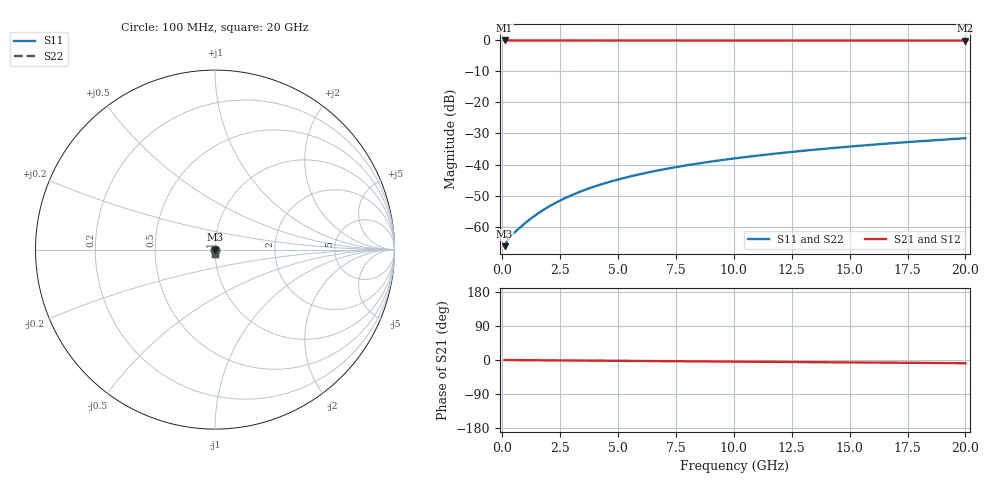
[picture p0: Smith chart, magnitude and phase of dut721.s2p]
! Touchstone file exported from HFSS 2026.1.0
!  File:  C:/ffzhzh/LocalFiles/Ansys_Project_Files/temp_train_BSMRDL_721_1783168386_22436.aedt
!  Generated:  08:34:15 PM Jul  4, 2026
!  Design:  BSMRDL
!  Project:  temp_train_BSMRDL_721_1783168386_22436
! Variables:
!  h_bsmrdl = 5.78um
!  h_ox = 20um
!  h_rdl = 5um
!  h_sub = 80um
!  h_tmrdl = 5um
!  h_tsv = 80um
!  h_via = 3um
!  l_bsmrdl = 137.52um
!  l_sub = 537.52um
!  l_tmrdl = 200um
!  m_sub = 200um
!  pitch = 33.33um
!  r_tsv = 6um
!  s_tmrdl = 10um
!  w_bsmrdl = 29.51um
!  w_sub = 500um
!  w_tmrdl = 12um
!  x_tsv_center1 = 206um
!  x_tsv_center2 = 373.03um
!  x_tsv_center3 = 585.03um
!  x_tsv_center4 = 752.06um
!  x_tsv_center5 = 964.06um
!  x_tsv_center6 = 1131.09um
# GHz S MA R 50.000000
! Terminal data exported
! Port[1] = BSM_RDL1_1_T1
! Port[2] = BSM_RDL1_1_T2
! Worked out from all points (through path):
!   200 points, 100 MHz to 20 GHz, reference 50 ohm
!   highest |S21| = 0.00 dB at 100 MHz (marker M1); lowest = 0.0 dB at 20 GHz (marker M2)
!   group delay of S21, straight-line fit = 1.16 ps
!   lowest |S11| = -66.3 dB at 100 MHz (marker M3), VSWR 1.00, Z = 50 + j0.00441 ohm
!   |S11| at or under -10 dB: start of sweep to end of sweep
!   |S22| runs from -66.3 to -31.5 dB; largest |S21 - S12| = 1.1e-14
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0.1  0.0004825 5.2  0.9995 -0.1  0.9995 -0.1  0.0004825 5.2
! Gamma 0 0 0 0
! Port Impedance 50 0 50 0
0.2  0.0005786 0.0  0.9994 -0.1  0.9994 -0.1  0.0005786 0.0
0.3  0.000656 -8.0  0.9993 -0.1  0.9993 -0.1  0.000656 -8.0
0.4  0.0007219 -15.6  0.9993 -0.2  0.9993 -0.2  0.0007219 -15.6
0.6  0.0008506 -27.8  0.9992 -0.3  0.9992 -0.3  0.0008505 -27.8
0.9  0.001067 -40.2  0.9992 -0.4  0.9992 -0.4  0.001067 -40.2
1.4  0.001493 -51.7  0.9991 -0.6  0.9991 -0.6  0.001493 -51.7
1.9  0.001982 -57.9  0.9989 -0.8  0.9989 -0.8  0.001982 -57.9
2.4  0.002517 -61.7  0.9988 -1.1  0.9988 -1.1  0.002517 -61.7
2.9  0.00309 -64.4  0.9986 -1.3  0.9986 -1.3  0.003089 -64.4
3.5  0.003813 -66.9  0.9984 -1.5  0.9984 -1.5  0.003813 -67.0
4.2  0.004693 -69.3  0.9982 -1.8  0.9982 -1.8  0.004693 -69.3
5  0.00573 -71.5  0.998 -2.2  0.998 -2.2  0.00573 -71.6
5.9  0.006922 -73.7  0.9977 -2.6  0.9977 -2.6  0.006922 -73.7
6.8  0.00813 -75.4  0.9975 -2.9  0.9975 -2.9  0.00813 -75.4
8.3  0.01017 -77.9  0.9972 -3.6  0.9972 -3.6  0.01017 -77.9
10.1  0.01264 -80.3  0.9969 -4.3  0.9969 -4.3  0.01264 -80.3
11.7  0.01485 -82.0  0.9966 -5.0  0.9966 -5.0  0.01485 -82.0
13.4  0.01722 -83.7  0.9963 -5.7  0.9963 -5.7  0.01722 -83.7
15  0.01946 -85.0  0.996 -6.4  0.996 -6.4  0.01946 -85.0
16.7  0.02185 -86.4  0.9957 -7.1  0.9957 -7.1  0.02185 -86.4
20  0.02652 -88.7  0.9952 -8.4  0.9952 -8.4  0.02651 -88.7
